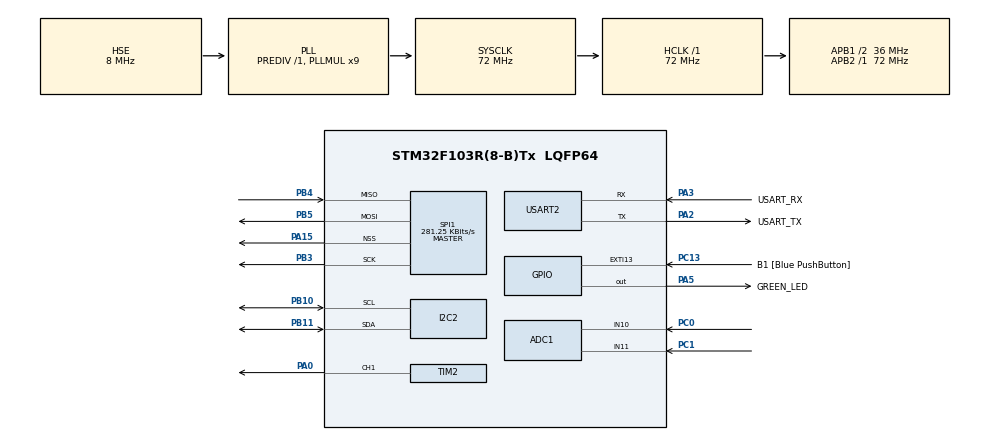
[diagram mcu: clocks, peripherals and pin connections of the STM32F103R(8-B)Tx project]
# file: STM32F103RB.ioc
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ADC1.Channel-0\#ChannelRegularConversion=ADC_CHANNEL_10
ADC1.Channel-1\#ChannelRegularConversion=ADC_CHANNEL_11
ADC1.Channel-2\#ChannelRegularConversion=ADC_CHANNEL_TEMPSENSOR
ADC1.ContinuousConvMode=ENABLE
ADC1.DataAlign=ADC_DATAALIGN_RIGHT
ADC1.DiscontinuousConvMode=DISABLE
ADC1.EnableAnalogWatchDog=false
ADC1.EnableRegularConversion=ENABLE
ADC1.ExternalTrigConv=ADC_SOFTWARE_START
ADC1.InjNumberOfConversion=0
ADC1.NbrOfConversion=3
ADC1.NbrOfConversionFlag=1
ADC1.Rank-0\#ChannelRegularConversion=1
ADC1.Rank-1\#ChannelRegularConversion=2
ADC1.Rank-2\#ChannelRegularConversion=3
ADC1.SamplingTime-0\#ChannelRegularConversion=ADC_SAMPLETIME_55CYCLES_5
ADC1.SamplingTime-1\#ChannelRegularConversion=ADC_SAMPLETIME_55CYCLES_5
ADC1.SamplingTime-2\#ChannelRegularConversion=ADC_SAMPLETIME_55CYCLES_5
ADC1.ScanConvMode=ADC_SCAN_ENABLE
ADC1.master=1
Dma.ADC1.0.Direction=DMA_PERIPH_TO_MEMORY
Dma.ADC1.0.Instance=DMA1_Channel1
Dma.ADC1.0.MemDataAlignment=DMA_MDATAALIGN_WORD
Dma.ADC1.0.MemInc=DMA_MINC_ENABLE
Dma.ADC1.0.Mode=DMA_CIRCULAR
Dma.ADC1.0.PeriphDataAlignment=DMA_PDATAALIGN_WORD
Dma.ADC1.0.PeriphInc=DMA_PINC_DISABLE
Dma.ADC1.0.Priority=DMA_PRIORITY_LOW
Dma.Request0=ADC1
IWDG.Prescaler=IWDG_PRESCALER_32
Mcu.Family=STM32F1
Mcu.Name=STM32F103R(8-B)Tx
Mcu.Package=LQFP64
NVIC.DMA1_Channel1_IRQn=true\:0\:0\:false\:false\:true\:false
NVIC.EXTI15_10_IRQn=true\:0\:0\:false\:false\:true\:true
NVIC.PriorityGroup=NVIC_PRIORITYGROUP_4
NVIC.TIM2_IRQn=true\:0\:0\:false\:false\:true\:true
NVIC.USART2_IRQn=true\:0\:0\:false\:false\:true\:true
PA0-WKUP.Signal=S_TIM2_CH1_ETR
PA13.GPIO_Label=TMS
PA13.Mode=Serial_Wire
PA13.Signal=SYS_JTMS-SWDIO
PA14.GPIO_Label=TCK
PA14.Mode=Serial_Wire
PA14.Signal=SYS_JTCK-SWCLK
PA15.Mode=NSS_Signal_Hard_Output
PA15.Signal=SPI1_NSS
PA2.GPIO_Label=USART_TX
PA2.GPIO_Mode=GPIO_MODE_AF_PP
PA2.GPIO_PuPd=GPIO_NOPULL
PA2.GPIO_Speed=GPIO_SPEED_FREQ_LOW
PA2.Mode=Asynchronous
PA2.Signal=USART2_TX
PA3.GPIO_Label=USART_RX
PA3.GPIO_Mode=GPIO_MODE_AF_PP
PA3.GPIO_PuPd=GPIO_NOPULL
PA3.GPIO_Speed=GPIO_SPEED_FREQ_LOW
PA3.Mode=Asynchronous
PA3.Signal=USART2_RX
PA5.GPIO_Label=GREEN_LED
PA5.GPIO_ModeDefaultOutputPP=GPIO_MODE_OUTPUT_PP
PA5.GPIO_PuPd=GPIO_NOPULL
PA5.GPIO_Speed=GPIO_SPEED_FREQ_LOW
PA5.Signal=GPIO_Output
PB10.Mode=I2C
PB10.Signal=I2C2_SCL
PB11.Mode=I2C
PB11.Signal=I2C2_SDA
PB3.Mode=Full_Duplex_Master
PB3.Signal=SPI1_SCK
PB4.Mode=Full_Duplex_Master
PB4.Signal=SPI1_MISO
PB5.Mode=Full_Duplex_Master
PB5.Signal=SPI1_MOSI
PC0.Signal=ADCx_IN10
PC1.Signal=ADCx_IN11
PC13-TAMPER-RTC.GPIO_Label=B1 [Blue PushButton]
PC13-TAMPER-RTC.GPIO_PuPd=GPIO_NOPULL
PC13-TAMPER-RTC.Signal=GPXTI13
PC14-OSC32_IN.Mode=LSE-External-Oscillator
PC14-OSC32_IN.Signal=RCC_OSC32_IN
PC15-OSC32_OUT.Mode=LSE-External-Oscillator
PC15-OSC32_OUT.Signal=RCC_OSC32_OUT
PD0-OSC_IN.Mode=HSE-External-Clock-Source
PD0-OSC_IN.Signal=RCC_OSC_IN
PD1-OSC_OUT.Mode=HSE-External-Clock-Source
PD1-OSC_OUT.Signal=RCC_OSC_OUT
ProjectManager.HeapSize=0x200
ProjectManager.StackSize=0x400
ProjectManager.TargetToolchain=MDK-ARM V5
RCC.ADCPresc=RCC_ADCPCLK2_DIV6
RCC.AHBFreq_Value=72000000
RCC.APB1CLKDivider=RCC_HCLK_DIV2
RCC.APB1Freq_Value=36000000
RCC.APB1TimFreq_Value=72000000
RCC.APB2Freq_Value=72000000
RCC.APB2TimFreq_Value=72000000
RCC.HCLKFreq_Value=72000000
RCC.PLLMUL=RCC_PLL_MUL9
RCC.PLLSourceVirtual=RCC_PLLSOURCE_HSE
RCC.RTCClockSelection=RCC_RTCCLKSOURCE_LSE
RCC.SYSCLKFreq_VALUE=72000000
RCC.SYSCLKSource=RCC_SYSCLKSOURCE_PLLCLK
RCC.USBFreq_Value=72000000
SH.ADCx_IN10.0=ADC1_IN10,IN10
SH.ADCx_IN11.0=ADC1_IN11,IN11
SH.S_TIM2_CH1_ETR.0=TIM2_CH1,PWM Generation1 CH1
SPI1.BaudRatePrescaler=SPI_BAUDRATEPRESCALER_256
SPI1.CalculateBaudRate=281.25 KBits/s
SPI1.Direction=SPI_DIRECTION_2LINES
SPI1.Mode=SPI_MODE_MASTER
SPI1.VirtualNSS=VM_NSSHARD
SPI1.VirtualType=VM_MASTER
TIM2.Channel-PWM\ Generation1\ CH1=TIM_CHANNEL_1
TIM2.Period=282
TIM2.Prescaler=256
USART2.VirtualMode=VM_ASYNC
VP_ADC1_TempSens_Input.Mode=IN-TempSens
VP_IWDG_VS_IWDG.Mode=IWDG_Activate
VP_TIM2_VS_ClockSourceINT.Mode=Internal
board=NUCLEO-F103RB

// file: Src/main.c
/**
  ******************************************************************************
  * @file           : main.c
  * @brief          : Main program body
  ******************************************************************************
  ** This notice applies to any and all portions of this file
  * that are not between comment pairs USER CODE BEGIN and
  * USER CODE END. Other portions of this file, whether
  * inserted by the user or by software development tools
  * are owned by their respective copyright owners.
  *
  * COPYRIGHT(c) 2018 STMicroelectronics
  *
  * Redistribution and use in source and binary forms, with or without modification,
  * are permitted provided that the following conditions are met:
  *   1. Redistributions of source code must retain the above copyright notice,
  *      this list of conditions and the following disclaimer.
  *   2. Redistributions in binary form must reproduce the above copyright notice,
  *      this list of conditions and the following disclaimer in the documentation
  *      and/or other materials provided with the distribution.
  *   3. Neither the name of STMicroelectronics nor the names of its contributors
  *      may be used to endorse or promote products derived from this software
  *      without specific prior written permission.
  *
  * THIS SOFTWARE IS PROVIDED BY THE COPYRIGHT HOLDERS AND CONTRIBUTORS "AS IS"
  * AND ANY EXPRESS OR IMPLIED WARRANTIES, INCLUDING, BUT NOT LIMITED TO, THE
  * IMPLIED WARRANTIES OF MERCHANTABILITY AND FITNESS FOR A PARTICULAR PURPOSE ARE
  * DISCLAIMED. IN NO EVENT SHALL THE COPYRIGHT HOLDER OR CONTRIBUTORS BE LIABLE
  * FOR ANY DIRECT, INDIRECT, INCIDENTAL, SPECIAL, EXEMPLARY, OR CONSEQUENTIAL
  * DAMAGES (INCLUDING, BUT NOT LIMITED TO, PROCUREMENT OF SUBSTITUTE GOODS OR
  * SERVICES; LOSS OF USE, DATA, OR PROFITS; OR BUSINESS INTERRUPTION) HOWEVER
  * CAUSED AND ON ANY THEORY OF LIABILITY, WHETHER IN CONTRACT, STRICT LIABILITY,
  * OR TORT (INCLUDING NEGLIGENCE OR OTHERWISE) ARISING IN ANY WAY OUT OF THE USE
  * OF THIS SOFTWARE, EVEN IF ADVISED OF THE POSSIBILITY OF SUCH DAMAGE.
  *
  ******************************************************************************
  */
#include "main.h"
#include "stm32f1xx_hal.h"

/* USER CODE BEGIN Includes */
#include "stdbool.h"
#define   PC_USART_SIZE          3
/* USER CODE END Includes */

ADC_HandleTypeDef hadc1;
DMA_HandleTypeDef hdma_adc1;

I2C_HandleTypeDef hi2c2;

IWDG_HandleTypeDef hiwdg;

SPI_HandleTypeDef hspi1;

TIM_HandleTypeDef htim2;

UART_HandleTypeDef huart2;

/* USER CODE BEGIN PV */
/* Private variables ---------------------------------------------------------*/
unsigned char NEW[2] = "\r\n";
unsigned char START[7] = "START\n\r";
unsigned char CPU_TEMP[20] = "CPU_Temperature:";
unsigned char ADC_INT10[13] = "ADC_INT10:";
unsigned char ADC_INT11[13] = "ADC_INT11:";
volatile unsigned char USART_PC_RX_BUFFER[PC_USART_SIZE];
uint8_t WTCDOG[25] = "WATCHDOG_TRIGGERED!\r\n";
unsigned char temperature[5];
unsigned char converter[5];
uint32_t DMA_ADC_Result[3];
unsigned char DMA_ADC_FINAL[4];
float voltage1,voltage2 = 0;
int calculation = 0;
bool DMA_ADC_ACTIVE = false;
bool flag = false;
bool ACTIVATE = false;
int timer_counter = 0;
/* USER CODE END PV */

void SystemClock_Config(void);
static void MX_GPIO_Init(void);
static void MX_DMA_Init(void);
static void MX_USART2_UART_Init(void);
static void MX_ADC1_Init(void);
static void MX_TIM2_Init(void);
static void MX_IWDG_Init(void);
static void MX_SPI1_Init(void);
static void MX_I2C2_Init(void);

void HAL_TIM_MspPostInit(TIM_HandleTypeDef *htim);

/* USER CODE BEGIN PFP */
/* Private function prototypes -----------------------------------------------*/
void INTEGER_2_CHAR(int input);
void FLOAT_2_CHAR(float input);
/* USER CODE END PFP */

int main(void)
{

  /* MCU Configuration----------------------------------------------------------*/

  /* Reset of all peripherals, Initializes the Flash interface and the Systick. */
  HAL_Init();

  /* Configure the system clock */
  SystemClock_Config();

  /* Initialize all configured peripherals */
  MX_GPIO_Init();
  MX_DMA_Init();
  MX_USART2_UART_Init();
  MX_ADC1_Init();
  MX_TIM2_Init();
  MX_IWDG_Init();
  MX_SPI1_Init();
  MX_I2C2_Init();
  /* USER CODE BEGIN 2 */
	__HAL_UART_ENABLE_IT(&huart2,UART_IT_RXNE);  //USART RX INTERRUPT ENABLE
	HAL_UART_Transmit(&huart2, START ,sizeof(START),100);
	HAL_UART_Receive_IT(&huart2, (uint8_t*)USART_PC_RX_BUFFER,sizeof(USART_PC_RX_BUFFER));
  HAL_ADCEx_Calibration_Start(&hadc1);  //ADC1 Calibration
  HAL_TIM_Base_Start_IT(&htim2);   //TIMER INTERRUPT ENABLE
	HAL_TIM_PWM_Start(&htim2,TIM_CHANNEL_1);  //START PWM PA0 - 14
  /* USER CODE END 2 */

  /* Infinite loop */
  /* USER CODE BEGIN WHILE */
  while (1)
  {
    __HAL_TIM_SET_COMPARE(&htim2, TIM_CHANNEL_1,30);        //PWM Outpu
    HAL_ADC_Start_DMA(&hadc1,(uint32_t*)&DMA_ADC_Result,3);    //START MOVE DATA FROM PHERIPERALS TO MEMORY BY DMA
		//ADC1_IN10
		HAL_UART_Transmit(&huart2,ADC_INT10, sizeof(ADC_INT10),400);
		voltage1 = DMA_ADC_Result[0]*3.3/4096;   //CONVERT ADC TO VOLTAGE
		FLOAT_2_CHAR(voltage1);                  //CONVERT float TO unsigned char
		HAL_UART_Transmit(&huart2,(uint8_t*)DMA_ADC_FINAL,sizeof(DMA_ADC_FINAL),500);
		HAL_UART_Transmit(&huart2,(unsigned char*)"V",1,500);
		HAL_UART_Transmit(&huart2,(uint8_t*)NEW,sizeof(NEW),500);
		HAL_Delay(300);
		//ADC1_IN11
		HAL_UART_Transmit(&huart2,ADC_INT11, sizeof(ADC_INT11),400);
		voltage2 = DMA_ADC_Result[1]*3.3/4096;   //CONVERT ADC TO VOLTAGE
		FLOAT_2_CHAR(voltage2);                  //CONVERT float TO unsigned char
		HAL_UART_Transmit(&huart2,(uint8_t*)DMA_ADC_FINAL,sizeof(DMA_ADC_FINAL),500);
		HAL_UART_Transmit(&huart2,(unsigned char*)"V",1,500);
		HAL_UART_Transmit(&huart2,(uint8_t*)NEW,sizeof(NEW),500);
		HAL_Delay(300);
		//ADC1_CPU
		HAL_UART_Transmit(&huart2,CPU_TEMP,sizeof(CPU_TEMP),500);
		calculation = (1.42 - DMA_ADC_Result[2]*3.3/4096)*4.35/1000+25;  //Convert to Temperature
		INTEGER_2_CHAR(calculation);                                     //Convert integer to unsigend char
		HAL_UART_Transmit(&huart2,(unsigned char*)temperature,sizeof(temperature),500);
		HAL_UART_Transmit(&huart2,(unsigned char*)"C",1,500);
		HAL_UART_Transmit(&huart2,NEW,sizeof(NEW),500);
		HAL_Delay(300);
		HAL_ADC_Stop_DMA(&hadc1);       //STOP DMA
    if (flag == true)
	  {
		  HAL_GPIO_TogglePin(GREEN_LED_GPIO_Port,GREEN_LED_Pin);   //THE LED WILL CHANGE STATE EVERY SECOND
		  flag = false; //RESET THE FLAG
	  }
	  if (ACTIVATE == true)
	  {
		  while(1)
		  {
			  HAL_UART_Transmit(&huart2,WTCDOG,sizeof(WTCDOG),500); //DISPLAY WATCH DOG TRIGGER MESSAGE
		  }  //INPUT 'DOG' WILL TRIGGER INFINITY LOOP
	  }
    HAL_IWDG_Refresh(&hiwdg);    //Refresh Watchdog
	/*ABOUT IWWDG

	Prescalar divider:   PR:
	/4									 0
	/8                   1
	/16								   2
	/32									 3
	/64									 4
	/128								 5
	/256								 6

	You must refresh watchdog in T seconds

	where T = ( 4 x Prescalar_divider x 2^PR) / (LSI clocker frequency)

	**LSI = Low speed internal = 40kHz
	*/
  /* USER CODE END WHILE */

  }

}

void SystemClock_Config(void)
{

  RCC_OscInitTypeDef RCC_OscInitStruct;
  RCC_ClkInitTypeDef RCC_ClkInitStruct;
  RCC_PeriphCLKInitTypeDef PeriphClkInit;

    /**Initializes the CPU, AHB and APB busses clocks
    */
  RCC_OscInitStruct.OscillatorType = RCC_OSCILLATORTYPE_LSI|RCC_OSCILLATORTYPE_HSE;
  RCC_OscInitStruct.HSEState = RCC_HSE_BYPASS;
  RCC_OscInitStruct.HSEPredivValue = RCC_HSE_PREDIV_DIV1;
  RCC_OscInitStruct.HSIState = RCC_HSI_ON;
  RCC_OscInitStruct.LSIState = RCC_LSI_ON;
  RCC_OscInitStruct.PLL.PLLState = RCC_PLL_ON;
  RCC_OscInitStruct.PLL.PLLSource = RCC_PLLSOURCE_HSE;
  RCC_OscInitStruct.PLL.PLLMUL = RCC_PLL_MUL9;
  if (HAL_RCC_OscConfig(&RCC_OscInitStruct) != HAL_OK)
  {
    _Error_Handler(__FILE__, __LINE__);
  }

    /**Initializes the CPU, AHB and APB busses clocks
    */
  RCC_ClkInitStruct.ClockType = RCC_CLOCKTYPE_HCLK|RCC_CLOCKTYPE_SYSCLK
                              |RCC_CLOCKTYPE_PCLK1|RCC_CLOCKTYPE_PCLK2;
  RCC_ClkInitStruct.SYSCLKSource = RCC_SYSCLKSOURCE_PLLCLK;
  RCC_ClkInitStruct.AHBCLKDivider = RCC_SYSCLK_DIV1;
  RCC_ClkInitStruct.APB1CLKDivider = RCC_HCLK_DIV2;
  RCC_ClkInitStruct.APB2CLKDivider = RCC_HCLK_DIV1;

  if (HAL_RCC_ClockConfig(&RCC_ClkInitStruct, FLASH_LATENCY_2) != HAL_OK)
  {
    _Error_Handler(__FILE__, __LINE__);
  }

  PeriphClkInit.PeriphClockSelection = RCC_PERIPHCLK_ADC;
  PeriphClkInit.AdcClockSelection = RCC_ADCPCLK2_DIV6;
  if (HAL_RCCEx_PeriphCLKConfig(&PeriphClkInit) != HAL_OK)
  {
    _Error_Handler(__FILE__, __LINE__);
  }

    /**Configure the Systick interrupt time
    */
  HAL_SYSTICK_Config(HAL_RCC_GetHCLKFreq()/1000);

    /**Configure the Systick
    */
  HAL_SYSTICK_CLKSourceConfig(SYSTICK_CLKSOURCE_HCLK);

  /* SysTick_IRQn interrupt configuration */
  HAL_NVIC_SetPriority(SysTick_IRQn, 0, 0);
}

/* ADC1 init function */
static void MX_ADC1_Init(void)
{

  ADC_ChannelConfTypeDef sConfig;

    /**Common config
    */
  hadc1.Instance = ADC1;
  hadc1.Init.ScanConvMode = ADC_SCAN_ENABLE;
  hadc1.Init.ContinuousConvMode = ENABLE;
  hadc1.Init.DiscontinuousConvMode = DISABLE;
  hadc1.Init.ExternalTrigConv = ADC_SOFTWARE_START;
  hadc1.Init.DataAlign = ADC_DATAALIGN_RIGHT;
  hadc1.Init.NbrOfConversion = 3;
  if (HAL_ADC_Init(&hadc1) != HAL_OK)
  {
    _Error_Handler(__FILE__, __LINE__);
  }

    /**Configure Regular Channel
    */
  sConfig.Channel = ADC_CHANNEL_10;
  sConfig.Rank = ADC_REGULAR_RANK_1;
  sConfig.SamplingTime = ADC_SAMPLETIME_55CYCLES_5;
  if (HAL_ADC_ConfigChannel(&hadc1, &sConfig) != HAL_OK)
  {
    _Error_Handler(__FILE__, __LINE__);
  }

    /**Configure Regular Channel
    */
  sConfig.Channel = ADC_CHANNEL_11;
  sConfig.Rank = ADC_REGULAR_RANK_2;
  if (HAL_ADC_ConfigChannel(&hadc1, &sConfig) != HAL_OK)
  {
    _Error_Handler(__FILE__, __LINE__);
  }

    /**Configure Regular Channel
    */
  sConfig.Channel = ADC_CHANNEL_TEMPSENSOR;
  sConfig.Rank = ADC_REGULAR_RANK_3;
  if (HAL_ADC_ConfigChannel(&hadc1, &sConfig) != HAL_OK)
  {
    _Error_Handler(__FILE__, __LINE__);
  }

}

/* I2C2 init function */
static void MX_I2C2_Init(void)
{

  hi2c2.Instance = I2C2;
  hi2c2.Init.ClockSpeed = 100000;
  hi2c2.Init.DutyCycle = I2C_DUTYCYCLE_2;
  hi2c2.Init.OwnAddress1 = 0;
  hi2c2.Init.AddressingMode = I2C_ADDRESSINGMODE_7BIT;
  hi2c2.Init.DualAddressMode = I2C_DUALADDRESS_DISABLE;
  hi2c2.Init.OwnAddress2 = 0;
  hi2c2.Init.GeneralCallMode = I2C_GENERALCALL_DISABLE;
  hi2c2.Init.NoStretchMode = I2C_NOSTRETCH_DISABLE;
  if (HAL_I2C_Init(&hi2c2) != HAL_OK)
  {
    _Error_Handler(__FILE__, __LINE__);
  }

}

/* IWDG init function */
static void MX_IWDG_Init(void)
{

  hiwdg.Instance = IWDG;
  hiwdg.Init.Prescaler = IWDG_PRESCALER_32;
  hiwdg.Init.Reload = 4095;
  if (HAL_IWDG_Init(&hiwdg) != HAL_OK)
  {
    _Error_Handler(__FILE__, __LINE__);
  }

}

/* SPI1 init function */
static void MX_SPI1_Init(void)
{

  /* SPI1 parameter configuration*/
  hspi1.Instance = SPI1;
  hspi1.Init.Mode = SPI_MODE_MASTER;
  hspi1.Init.Direction = SPI_DIRECTION_2LINES;
  hspi1.Init.DataSize = SPI_DATASIZE_8BIT;
  hspi1.Init.CLKPolarity = SPI_POLARITY_LOW;
  hspi1.Init.CLKPhase = SPI_PHASE_1EDGE;
  hspi1.Init.NSS = SPI_NSS_HARD_OUTPUT;
  hspi1.Init.BaudRatePrescaler = SPI_BAUDRATEPRESCALER_256;
  hspi1.Init.FirstBit = SPI_FIRSTBIT_MSB;
  hspi1.Init.TIMode = SPI_TIMODE_DISABLE;
  hspi1.Init.CRCCalculation = SPI_CRCCALCULATION_DISABLE;
  hspi1.Init.CRCPolynomial = 10;
  if (HAL_SPI_Init(&hspi1) != HAL_OK)
  {
    _Error_Handler(__FILE__, __LINE__);
  }

}

/* TIM2 init function */
static void MX_TIM2_Init(void)
{

  TIM_ClockConfigTypeDef sClockSourceConfig;
  TIM_MasterConfigTypeDef sMasterConfig;
  TIM_OC_InitTypeDef sConfigOC;

  htim2.Instance = TIM2;
  htim2.Init.Prescaler = 256;
  htim2.Init.CounterMode = TIM_COUNTERMODE_UP;
  htim2.Init.Period = 282;
  htim2.Init.ClockDivision = TIM_CLOCKDIVISION_DIV1;
  htim2.Init.AutoReloadPreload = TIM_AUTORELOAD_PRELOAD_DISABLE;
  if (HAL_TIM_Base_Init(&htim2) != HAL_OK)
  {
    _Error_Handler(__FILE__, __LINE__);
  }

  sClockSourceConfig.ClockSource = TIM_CLOCKSOURCE_INTERNAL;
  if (HAL_TIM_ConfigClockSource(&htim2, &sClockSourceConfig) != HAL_OK)
  {
    _Error_Handler(__FILE__, __LINE__);
  }

  if (HAL_TIM_PWM_Init(&htim2) != HAL_OK)
  {
    _Error_Handler(__FILE__, __LINE__);
  }

  sMasterConfig.MasterOutputTrigger = TIM_TRGO_RESET;
  sMasterConfig.MasterSlaveMode = TIM_MASTERSLAVEMODE_DISABLE;
  if (HAL_TIMEx_MasterConfigSynchronization(&htim2, &sMasterConfig) != HAL_OK)
  {
    _Error_Handler(__FILE__, __LINE__);
  }

  sConfigOC.OCMode = TIM_OCMODE_PWM1;
  sConfigOC.Pulse = 0;
  sConfigOC.OCPolarity = TIM_OCPOLARITY_HIGH;
  sConfigOC.OCFastMode = TIM_OCFAST_DISABLE;
  if (HAL_TIM_PWM_ConfigChannel(&htim2, &sConfigOC, TIM_CHANNEL_1) != HAL_OK)
  {
    _Error_Handler(__FILE__, __LINE__);
  }

  HAL_TIM_MspPostInit(&htim2);

}

/* USART2 init function */
static void MX_USART2_UART_Init(void)
{

  huart2.Instance = USART2;
  huart2.Init.BaudRate = 115200;
  huart2.Init.WordLength = UART_WORDLENGTH_8B;
  huart2.Init.StopBits = UART_STOPBITS_1;
  huart2.Init.Parity = UART_PARITY_NONE;
  huart2.Init.Mode = UART_MODE_TX_RX;
  huart2.Init.HwFlowCtl = UART_HWCONTROL_NONE;
  huart2.Init.OverSampling = UART_OVERSAMPLING_16;
  if (HAL_UART_Init(&huart2) != HAL_OK)
  {
    _Error_Handler(__FILE__, __LINE__);
  }

}

static void MX_DMA_Init(void)
{
  /* DMA controller clock enable */
  __HAL_RCC_DMA1_CLK_ENABLE();

  /* DMA interrupt init */
  /* DMA1_Channel1_IRQn interrupt configuration */
  HAL_NVIC_SetPriority(DMA1_Channel1_IRQn, 0, 0);
  HAL_NVIC_EnableIRQ(DMA1_Channel1_IRQn);

}

/** Configure pins as
        * Analog
        * Input
        * Output
        * EVENT_OUT
        * EXTI
*/
static void MX_GPIO_Init(void)
{

  GPIO_InitTypeDef GPIO_InitStruct;

  /* GPIO Ports Clock Enable */
  __HAL_RCC_GPIOC_CLK_ENABLE();
  __HAL_RCC_GPIOD_CLK_ENABLE();
  __HAL_RCC_GPIOA_CLK_ENABLE();
  __HAL_RCC_GPIOB_CLK_ENABLE();

  /*Configure GPIO pin Output Level */
  HAL_GPIO_WritePin(GREEN_LED_GPIO_Port, GREEN_LED_Pin, GPIO_PIN_RESET);

  /*Configure GPIO pin : B1_Pin */
  GPIO_InitStruct.Pin = B1_Pin;
  GPIO_InitStruct.Mode = GPIO_MODE_IT_RISING;
  GPIO_InitStruct.Pull = GPIO_NOPULL;
  HAL_GPIO_Init(B1_GPIO_Port, &GPIO_InitStruct);

  /*Configure GPIO pin : GREEN_LED_Pin */
  GPIO_InitStruct.Pin = GREEN_LED_Pin;
  GPIO_InitStruct.Mode = GPIO_MODE_OUTPUT_PP;
  GPIO_InitStruct.Speed = GPIO_SPEED_FREQ_LOW;
  HAL_GPIO_Init(GREEN_LED_GPIO_Port, &GPIO_InitStruct);

  /* EXTI interrupt init*/
  HAL_NVIC_SetPriority(EXTI15_10_IRQn, 0, 0);
  HAL_NVIC_EnableIRQ(EXTI15_10_IRQn);

}

/* USER CODE BEGIN 4 */
void INTEGER_2_CHAR(int input)
{
	converter[0] = input/10000;
  converter[1] = (input - converter[0]*10000)/1000;
  converter[2] = (input - converter[0]*10000 - converter[1]*1000)/100;
  converter[3] = (input - converter[0]*10000 - converter[1]*1000 - converter[2]*100)/10;
  converter[4] = (input - converter[0]*10000 - converter[1]*1000 - converter[2]*100 - converter[3]*10);
  for (int x =0; x <= 4; x++)
  {
		switch(converter[x])
		{
			case 0 : {temperature[x] = '0'; break;}
			case 1 : {temperature[x] = '1'; break;}
			case 2 : {temperature[x] = '2'; break;}
			case 3 : {temperature[x] = '3'; break;}
			case 4 : {temperature[x] = '4'; break;}
			case 5 : {temperature[x] = '5'; break;}
			case 6 : {temperature[x] = '6'; break;}
			case 7 : {temperature[x] = '7'; break;}
			case 8 : {temperature[x] = '8'; break;}
			case 9 : {temperature[x] = '9'; break;}
			default: {temperature[x] = 'U'; break;}
		}
	}

}

void HAL_UART_RxCpltCallback(UART_HandleTypeDef *huart)
{
  UNUSED(huart);
	if (huart == &huart2)
	{
		if ((USART_PC_RX_BUFFER[0] == 'D')&& (USART_PC_RX_BUFFER[1] == 'O')&&(USART_PC_RX_BUFFER[2] == 'G'))
	  {
		  ACTIVATE = true;
	  }
	}
}
void FLOAT_2_CHAR(float input)
{
	input = input * 100; //e.g. 3.3 x 100 = 330;
	converter[0] = input/100;
	converter[1] = 20;
	converter[2] = (input - converter[0]*100)/10;
	converter[3] = (input - converter[0]*100 - converter[2]*10);
  for (int x =0; x < 4; x++)
  {
		switch(converter[x])
		{
			case 0 : {DMA_ADC_FINAL[x] = '0'; break;}
			case 1 : {DMA_ADC_FINAL[x] = '1'; break;}
			case 2 : {DMA_ADC_FINAL[x] = '2'; break;}
			case 3 : {DMA_ADC_FINAL[x] = '3'; break;}
			case 4 : {DMA_ADC_FINAL[x] = '4'; break;}
			case 5 : {DMA_ADC_FINAL[x] = '5'; break;}
			case 6 : {DMA_ADC_FINAL[x] = '6'; break;}
			case 7 : {DMA_ADC_FINAL[x] = '7'; break;}
			case 8 : {DMA_ADC_FINAL[x] = '8'; break;}
			case 9 : {DMA_ADC_FINAL[x] = '9'; break;}
			default: {DMA_ADC_FINAL[x] = '.'; break;}
		}
	}
}
void HAL_TIM_PeriodElapsedCallback(TIM_HandleTypeDef *htim)
{
	if(htim == &htim2)
	{
	  timer_counter++;  //  Interval = 0.001 second
		if (timer_counter == 1000)
		{
			flag = true;
			timer_counter = 0; //RESET timer_counter to recount again
		}
	}
}

/* USER CODE END 4 */

void _Error_Handler(char *file, int line)
{
  while(1)
  {
  }
}

/************************ (C) COPYRIGHT STMicroelectronics *****END OF FILE****/
